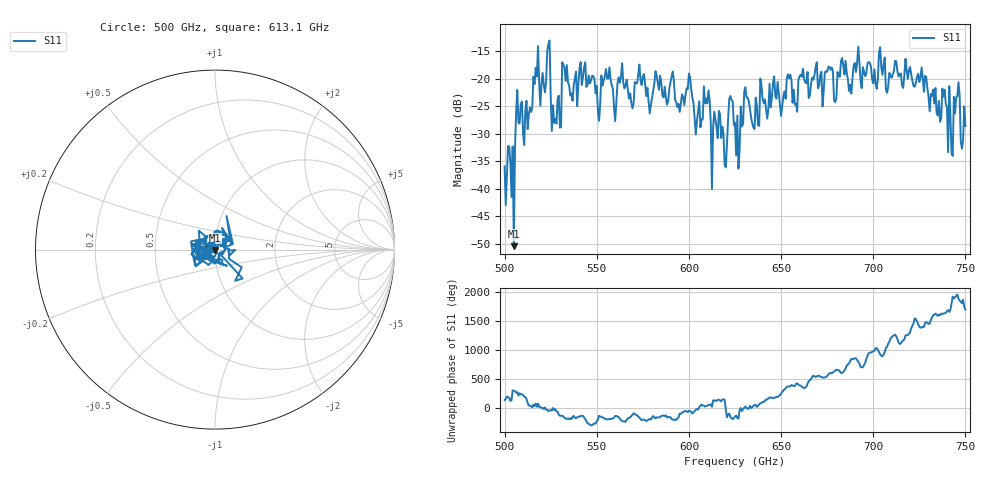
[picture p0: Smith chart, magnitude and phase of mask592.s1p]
!Created with skrf (http://scikit-rf.org).
# GHz S MA R 50.0
!freq magS11 angS11
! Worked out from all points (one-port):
!   401 points, 500 GHz to 750 GHz, reference 50 ohm
!   lowest |S11| = -50.5 dB at 505 GHz (marker M1), VSWR 1.01, Z = 50.1 - j0.278 ohm
!   |S11| at or under -10 dB: start of sweep to end of sweep
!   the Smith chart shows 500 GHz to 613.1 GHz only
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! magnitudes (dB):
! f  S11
! 500 GHz  -35.9
! 505 GHz  -50.5
! 507.5 GHz  -28.0
! 513.8 GHz  -25.2
! 516.9 GHz  -18.0
! 523.8 GHz  -13.7
! 526.9 GHz  -28.0
! 531.2 GHz  -17.0
! 542.5 GHz  -19.7
! 550.6 GHz  -25.9
! 555.6 GHz  -20.0
! 559.4 GHz  -25.3
! 562.5 GHz  -20.7
! 568.8 GHz  -24.4
! 590.6 GHz  -19.5
! 593.8 GHz  -25.1
! 609.4 GHz  -23.6
! 619.4 GHz  -35.6
! 622.5 GHz  -23.1
! 625 GHz  -28.0
! 631.2 GHz  -23.4
! 656.2 GHz  -24.4
! 687.5 GHz  -21.1
! 718.8 GHz  -20.0
! 738.8 GHz  -22.0
! 741.9 GHz  -26.9
! 745 GHz  -23.4
! 750 GHz  -28.6
